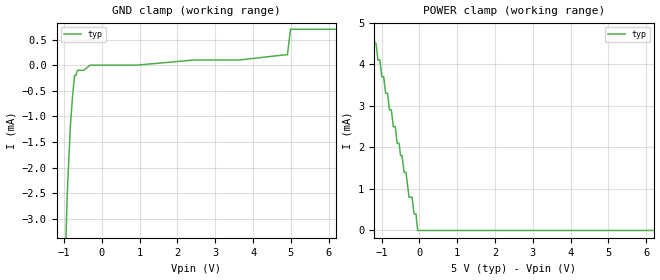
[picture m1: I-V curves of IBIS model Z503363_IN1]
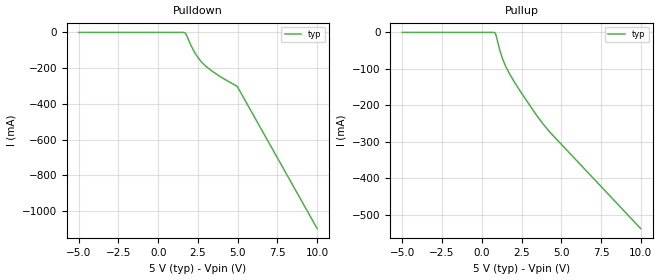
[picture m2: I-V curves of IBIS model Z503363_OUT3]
[IBIS Ver] 3.1
[File Name] mc100e166fn_pecl.ibs
[File Rev] 2
[Source] Derived from MC100E116FN_PECL
|   Measured and created by ICX Technology
[Date] 2/18/2004
[Copyright]
| (C) COPYRIGHT 1993-2000
| MENTOR GRAPHICS CORPORATION
| ICX STANDARD LIBRARY, ICX PROJECT MODELING,
| ICX CUSTOM MODELING, ICX VENDOR MODEL
| ALL RIGHTS RESERVED.
| THE FOLLOWING ARE TRADEMARKS OR SERVICE MARKS OF
| MENTOR GRAPHICS CORPORATION:ICX (R), ICX STANDARD
| LIBRARY(R), ICX PROJECT MODELING(R), ICX CUSTOM
| MODELING(R), qualityIBIS(TM), MODELVIEWER(TM),
| AND MODELEDITOR(TM)
| ALL COPIES OF SOFTWARE, INCLUDING BUT NOT LIMITED TO
| ANY MODIFICATIONS, ENHANCEMENTS OR DERIVATIVE WORKS,
| MUST CONTAIN ALL MENTOR GRAPHICS CORPORATION'S
| NOTICES AND LEGENDS, INCLUDING THOSE EMBEDDED IN
| SOFTWARE AND THOSE AFFIXED TO SOFTWARE MEDIUM
| AND CONTAINER, AS RECEIVED FROM MENTOR GRAPHICS
| CORPORATION.
|  ZAP Model Builder 2.7
[Component] MC100E166FN_PECL
[Manufacturer] On Semiconductor
[Package]
| variable   typ   min   max
R_pkg  .083ohms NA NA
L_pkg  4.354nH NA NA
C_pkg  1.065pF NA NA
[Pin] signal_name  model_name  R_pin  L_pin C_pin
1 VEE GND .08 3.94n .925p
2 A4 Z503363_IN1 .084 4.354n 1.065p
3 B4 Z503363_IN1 .084 4.354n 1.065p
4 A5 Z503363_IN1 .084 4.354n 1.065p
5 B5 Z503363_IN1 .084 4.354n 1.065p
6 A6 Z503363_IN1 .084 4.354n 1.065p
7 B6 Z503363_IN1 .084 4.354n 1.065p
8 A7 Z503363_IN1 .084 4.354n 1.065p
9 B7 Z503363_IN1 .084 4.354n 1.065p
10 A8 Z503363_IN1 .084 4.354n 1.065p
11 B8 Z503363_IN1 .084 4.354n 1.065p
12 NC NC
13 A>B Z503363_OUT3 .08 3.94n .925p
14 VCCO POWER .084 4.354n 1.065p
15 B>A Z503363_OUT3 .08 3.94n .925p
16 VCCO POWER .084 4.354n 1.065p
17 NC NC
18 _A=B Z503363_OUT3 .08 3.94n .925p
19 VCC POWER .082 4.14n .995p
20 A0 Z503363_IN1 .084 4.354n 1.065p
21 B0 Z503363_IN1 .084 4.354n 1.065p
22 A1 Z503363_IN1 .084 4.354n 1.065p
23 B1 Z503363_IN1 .084 4.354n 1.065p
24 A2 Z503363_IN1 .084 4.354n 1.065p
25 B2 Z503363_IN1 .084 4.354n 1.065p
26 A3 Z503363_IN1 .084 4.354n 1.065p
27 B3 Z503363_IN1 .084 4.354n 1.065p
28 NC NC
| Models and submodels in the file (2): Z503363_IN1 (Input_ECL), Z503363_OUT3 (Output_ECL)
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| (C) COPYRIGHT 1993-2000
| MENTOR GRAPHICS CORPORATION
| ICX STANDARD LIBRARY, ICX PROJECT MODELING,
| ICX CUSTOM MODELING, ICX VENDOR MODEL
| ALL RIGHTS RESERVED.
| THE FOLLOWING ARE TRADEMARKS OR SERVICE MARKS OF
| MENTOR GRAPHICS CORPORATION:ICX (R), ICX STANDARD
| LIBRARY(R), ICX PROJECT MODELING(R), ICX CUSTOM
| MODELING(R), qualityIBIS(TM), MODELVIEWER(TM),
| AND MODELEDITOR(TM)
| ALL COPIES OF SOFTWARE, INCLUDING BUT NOT LIMITED TO
| ANY MODIFICATIONS, ENHANCEMENTS OR DERIVATIVE WORKS,
| MUST CONTAIN ALL MENTOR GRAPHICS CORPORATION'S
| NOTICES AND LEGENDS, INCLUDING THOSE EMBEDDED IN
| SOFTWARE AND THOSE AFFIXED TO SOFTWARE MEDIUM
| AND CONTAINER, AS RECEIVED FROM MENTOR GRAPHICS
| CORPORATION.
| Model Application Version 1.89 2/18/99.
[Model] Z503363_IN1
Model_type Input_ECL
Vinl = 3.520V
Vinh = 3.870V
C_comp 2.000pF NA NA
| variable typ   min   max
[Voltage Range] 5.000V NA NA
[GND Clamp Reference] 0.000V NA NA
[POWER Clamp Reference] 5.000V NA NA
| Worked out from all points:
|   GND clamp passes 1 mA (typ) near -0.81 V on its own axis
|   POWER clamp passes 1 mA (typ) near -0.30 V on its own axis
[GND Clamp]
-5V       -139.9mA   NA         NA
-1.059V   -6.1mA     NA         NA
-916mV    -2.5mA     NA         NA
-835mV    -1.2mA     NA         NA
-775mV    -600uA     NA         NA
-724mV    -200uA     NA         NA
-647.8mV  -100uA     NA         NA
-311.3mV  0A         NA         NA
3.63V     100uA      NA         NA
4.908V    200uA      NA         NA
4.99V     700uA      NA         NA
10V       700uA      NA         NA
[POWER Clamp]
-5V       29.57mA    NA         NA
-1.147V   4.5mA      NA         NA
-690mV    2.5mA      NA         NA
-639mV    2.5mA      NA         NA
-588.5mV  2.1mA      NA         NA
-355mV    1.4mA      NA         NA
-274mV    800uA      NA         NA
-193mV    800uA      NA         NA
-142mV    400uA      NA         NA
-91mV     400uA      NA         NA
-45.5mV   0A         NA         NA
10V       0A         NA         NA
| (C) COPYRIGHT 1993-2000
| MENTOR GRAPHICS CORPORATION
| ICX STANDARD LIBRARY, ICX PROJECT MODELING,
| ICX CUSTOM MODELING, ICX VENDOR MODEL
| ALL RIGHTS RESERVED.
| THE FOLLOWING ARE TRADEMARKS OR SERVICE MARKS OF
| MENTOR GRAPHICS CORPORATION:ICX (R), ICX STANDARD
| LIBRARY(R), ICX PROJECT MODELING(R), ICX CUSTOM
| MODELING(R), qualityIBIS(TM), MODELVIEWER(TM),
| AND MODELEDITOR(TM)
| ALL COPIES OF SOFTWARE, INCLUDING BUT NOT LIMITED TO
| ANY MODIFICATIONS, ENHANCEMENTS OR DERIVATIVE WORKS,
| MUST CONTAIN ALL MENTOR GRAPHICS CORPORATION'S
| NOTICES AND LEGENDS, INCLUDING THOSE EMBEDDED IN
| SOFTWARE AND THOSE AFFIXED TO SOFTWARE MEDIUM
| AND CONTAINER, AS RECEIVED FROM MENTOR GRAPHICS
| CORPORATION.
| Model Application Version 1.89 2/18/99.
[Model] Z503363_OUT3
Model_type Output_ECL
Vref=3.000V
Rref=50.00ohms
Cref=0.000F
Vmeas=3.677V
C_comp 2.000pF NA NA
| variable typ   min   max
[Voltage Range] 5.000V NA NA
[POWER Clamp Reference] 5.000V NA NA
[Pullup Reference] 5.000V NA NA
[Pulldown Reference] 5.000V NA NA
[GND Clamp Reference] 0.000V NA NA
[GND Clamp]
-5V       0A         NA         NA
10V       0A         NA         NA
[Pulldown]
-5V       0A         NA         NA
1.674V    -1.9mA     NA         NA
1.776V    -14.5mA    NA         NA
2.06V     -72.9mA    NA         NA
2.303V    -114.1mA   NA         NA
2.75V     -168.3mA   NA         NA
3.5V      -223.6mA   NA         NA
4.981V    -303.8mA   NA         NA
10V       -1.098A    NA         NA
[Pullup]
-5V       0A         NA         NA
827mV     -1.5mA     NA         NA
908mV     -9.3mA     NA         NA
1.131V    -48.4mA    NA         NA
1.314V    -73.2mA    NA         NA
1.517V    -94.3mA    NA         NA
1.76V     -114.6mA   NA         NA
2.45V     -163.3mA   NA         NA
3.384V    -223.5mA   NA         NA
3.85V     -250.9mA   NA         NA
4.256V    -272.3mA   NA         NA
10V       -538.3mA   NA         NA
[POWER Clamp]
-5V       0A         NA         NA
10V       0A         NA         NA
[Ramp]
| variable typ min max
dV/dt_r 495.3m/265.3p NA NA
dV/dt_f 495.3m/173.9p NA NA
R_load = 50.0Ohms
